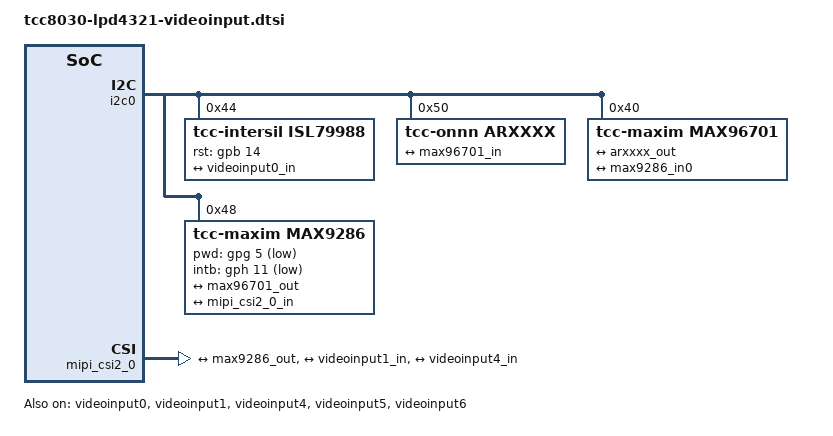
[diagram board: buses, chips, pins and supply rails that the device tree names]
// SPDX-License-Identifier: (GPL-2.0-or-later OR MIT)
/*
 * Copyright (C) Telechips Inc.
 */

#include "../tcc803x-videoinput.dtsi"

&pinctrl {
	cam0_8bit_idle: cam0_8bit_idle {
		telechips,pins = "gpa-0",  "gpa-1",  "gpa-2",  "gpa-11",  "gpa-12",
				 "gpa-3",  "gpa-4",  "gpa-5",  "gpa-6",  "gpa-7",  "gpa-8",  "gpa-9",  "gpa-10";
		telechips,pin-function = <0>;
		telechips,output-low;
	};

	cam0_16bit_idle: cam0_16bit_idle {
		telechips,pins = "gpa-0",
				 "gpa-3",  "gpa-4",  "gpa-5",  "gpa-6",  "gpa-7",  "gpa-8",  "gpa-9",  "gpa-10",
				 "gpa-13", "gpa-14", "gpa-15", "gpa-16", "gpa-17", "gpa-18", "gpa-19", "gpa-20";
		telechips,pin-function = <0>;
		telechips,output-low;
	};

	cam0_clk: cam0_clk {
		telechips,pins = "gpa-0";
		telechips,pin-function = <3>;
		telechips,drive-strength = <3>;
		telechips,input_buffer_enable;
	};

	cam0_hsync: cam0_hsync {
		telechips,pins = "gpa-1";
		telechips,pin-function = <3>;
		telechips,drive-strength = <3>;
		telechips,input_buffer_enable;
	};

	cam0_vsync: cam0_vsync {
		telechips,pins = "gpa-2";
		telechips,pin-function = <3>;
		telechips,drive-strength = <3>;
		telechips,input_buffer_enable;
	};

	cam0_fld: cam0_fld {
		telechips,pins = "gpa-11";
		telechips,pin-function = <3>;
		telechips,drive-strength = <3>;
		telechips,input_buffer_enable;
	};

	cam0_de: cam0_de {
		telechips,pins = "gpa-12";
		telechips,pin-function = <3>;
		telechips,drive-strength = <3>;
		telechips,input_buffer_enable;
	};

	cam0_data_8bit: cam0_data_8bit {
		telechips,pins = "gpa-3",  "gpa-4",  "gpa-5",  "gpa-6",  "gpa-7",  "gpa-8",  "gpa-9",  "gpa-10";
		telechips,pin-function = <3>;
		telechips,drive-strength = <3>;
		telechips,input_buffer_enable;
	};

	cam0_data_16bit: cam0_data_16bit {
		telechips,pins = "gpa-3",  "gpa-4",  "gpa-5",  "gpa-6",  "gpa-7",  "gpa-8",  "gpa-9",  "gpa-10",
				 "gpa-13", "gpa-14", "gpa-15", "gpa-16", "gpa-17", "gpa-18", "gpa-19", "gpa-20";
		telechips,pin-function = <3>;
		telechips,drive-strength = <3>;
		telechips,input_buffer_enable;
	};
};

&i2c0 {
	/* video decoder using parallel interface output */
	isl79988: isl79988 {
		status		= "okay";
		compatible	= "tcc-intersil,isl79988";
		pinctrl-names	= "default";
		pinctrl-0	= <&cam0_clk &cam0_data_8bit>;
		cifport		= <0>;
		rst-gpios	= <&gpb 14 0>;
		reg		= <0x44>;	// 0x88 >> 1
		port {
			isl79988_out: endpoint {
				remote-endpoint = <&videoinput0_in>;
				io-direction	= "output";
				bus-width	= <8>;
			};
		};
	};

	arxxxx: arxxxx@50 {
		status		= "okay";
		compatible	= "tcc-onnn,arxxxx";
		reg		= <0x50>;
		port {
			arxxxx_out: endpoint {
				remote-endpoint = <&max96701_in>;
				io-direction	= "output";
			};
		};
	};

	/* HD camera module & max9286 using MIPI CSI2 output */
	max96701: max96701@40 {
		/* serializer */
		status		= "okay";
		compatible	= "tcc-maxim,max96701";
		reg		= <0x40>;
		ports {
			#address-cells = <1>;
			#size-cells = <0>;
			port@0 {
				reg = <0>;
				max96701_in: endpoint {
					remote-endpoint = <&arxxxx_out>;
					io-direction	= "input";
				};
			};
			port@1 {
				reg = <1>;
				max96701_out: endpoint {
					remote-endpoint = <&max9286_in0>;
					io-direction	= "output";
				};
			};
		};
	};

	max9286: max9286@48 {
		/* deserializer */
		status		= "okay";
		compatible	= "tcc-maxim,max9286";
		pwd-gpios	= <&gpg 5 1>;
		intb-gpios	= <&gph 11 1>;
		//rst-gpios	= <&gpb 15 1>;  /* mcnex module sensor */
		reg		= <0x48>;	// 0x90 >> 1
		/*
		 * broadcasting mode access each linked devices
		 * by the same I2C slave address.
		 *
		 * Also,
		 * using the serdes I2C address mapping table,
		 * each liked devices can be accessed
		 * by the unique I2C slave address.
		 */
		broadcasting-mode;
		ports {
			#address-cells = <1>;
			#size-cells = <0>;
			/*
			 * 0 ~ 3
			 * input ports. The number is matched with VC
			 *
			 * 4
			 * output port.
			 */
			port@0 {
				reg = <0>;
				max9286_in0: endpoint {
					remote-endpoint = <&max96701_out>;
					io-direction	= "input";
					channel		= <0>;
				};
			};
			port@1 {
				reg = <1>;
				max9286_in1: endpoint {
					remote-endpoint = <&max96701_out>;
					io-direction	= "input";
					channel		= <1>;
				};
			};
			port@2 {
				reg = <2>;
				max9286_in2: endpoint {
					remote-endpoint = <&max96701_out>;
					io-direction	= "input";
					channel		= <2>;
				};
			};
			port@3 {
				reg = <3>;
				max9286_in3: endpoint {
					remote-endpoint = <&max96701_out>;
					io-direction	= "input";
					channel		= <3>;
				};
			};
			port@4 {
				reg = <4>;
				max9286_out: endpoint {
					remote-endpoint = <&mipi_csi2_0_in>;
					io-direction	= "output";
					channel		= <0>;
				};
			};
		};
	};
};

&mipi_csi2_0 {
	status = "okay";
	ports {
		#address-cells = <1>;
		#size-cells = <0>;
		/*
		 * 0
		 * input port.
		 *
		 * 1 ~ 4
		 * output ports. (1: VC0 ~ 4: VC3)
		 */
		port@0 {
			reg = <0>;
			mipi_csi2_0_in: endpoint {
				remote-endpoint	= <&max9286_out>;
				io-direction	= "input";
				num-channel	= <4>;

				/*
				 * 0: CH0 only, no data interleave
				 * 1: DT only
				 * 2: VC only
				 * 3: VC and DT
				 */
				interleave-mode = <3>;
				hs-settle = <17>;
				data-lanes = <1 2 3 4>;
			};
		};
		port@1 {
			reg = <1>;
			mipi_csi2_0_out0: endpoint {
				remote-endpoint = <&videoinput1_in>;
				io-direction	= "output";
				channel		= <0>;
				/*
				 * 0: Single pixel mode
				 * 1: Dual pixel mode (RAW8/10/12, YUV422)
				 * 2: Quad pixel mode (RAW8/10/12)
				 * 3: Invalid
				 */
				pixel-mode = <1>;
			};
		};
		port@2 {
			reg = <2>;
			mipi_csi2_0_out1: endpoint {
				remote-endpoint	= <&videoinput4_in>;
				io-direction	= "output";
				channel		= <1>;
				pixel-mode = <1>;
			};
		};
		port@3 {
			reg = <3>;
			mipi_csi2_0_out2: endpoint {
				remote-endpoint	= <&videoinput5_in>;
				io-direction	= "output";
				channel		= <2>;
				pixel-mode = <1>;
			};
		};
		port@4 {
			reg = <4>;
			mipi_csi2_0_out3: endpoint {
				remote-endpoint	= <&videoinput6_in>;
				io-direction	= "output";
				channel		= <3>;
				pixel-mode = <1>;
			};
		};
	};
};

&videoinput0 {
	status		= "okay";
	cifport		= <&cifport		0>;
	use_pgl		= <0>;
	dev_type	= <0>;
	/* memory-region
	 *  - [0]: parking guideline
	 *  - [1]: deinterlacing by viqe
	 *  - [2]: preview
	 *  - [3]: last frame
	 */
	memory-region	= <0
			   &pmap_rearcamera_viqe
			   &pmap_rearcamera
			   0>;
	port {
		videoinput0_in: endpoint {
			remote-endpoint	= <&isl79988_out>;
			io-direction	= "input";
			stream-enable	= <0>;	// VIN_CTRL.SE
			flush-vsync	= <0>;	// VIN_MISC.FVS
		};
	};
};

&videoinput1 {
	status		= "okay";
	cifport		= <&cifport		5>;
	dev_type	= <0>;
	/* memory-region
	 *  - [0]: parking guideline
	 *  - [1]: deinterlacing by viqe
	 *  - [2]: preview
	 *  - [3]: last frame
	 */
	memory-region	= <0
			   0
			   &pmap_rearcamera1
			   0>;
	port {
		videoinput1_in: endpoint {
			remote-endpoint	= <&mipi_csi2_0_out0>;
			io-direction	= "input";
			stream-enable	= <1>;	// VIN_CTRL.SE
			flush-vsync	= <1>;	// VIN_MISC.FVS
		};
	};
};

&videoinput4 {
	status		= "okay";
	cifport		= <&cifport		6>;
	dev_type	= <0>;
	/* memory-region
	 *  - [0]: parking guideline
	 *  - [1]: deinterlacing by viqe
	 *  - [2]: preview
	 *  - [3]: last frame
	 */
	memory-region	= <0
			   0
			   &pmap_rearcamera4
			   0>;
	port {
		videoinput4_in: endpoint {
			remote-endpoint	= <&mipi_csi2_0_out1>;
			io-direction	= "input";
			stream-enable	= <1>;	// VIN_CTRL.SE
			flush-vsync	= <1>;	// VIN_MISC.FVS
		};
	};
};

&videoinput5 {
	status		= "okay";
	cifport		= <&cifport		7>;
	dev_type	= <0>;
	/* memory-region
	 *  - [0]: parking guideline
	 *  - [1]: deinterlacing by viqe
	 *  - [2]: preview
	 *  - [3]: last frame
	 */
	memory-region	= <0
			   0
			   &pmap_rearcamera5
			   0>;
	port {
		videoinput5_in: endpoint {
			remote-endpoint	= <&mipi_csi2_0_out2>;
			io-direction	= "input";
			stream-enable	= <1>;	// VIN_CTRL.SE
			flush-vsync	= <1>;	// VIN_MISC.FVS
		};
	};
};

&videoinput6 {
	status		= "okay";
	cifport		= <&cifport		8>;
	dev_type	= <0>;
	/* memory-region
	 *  - [0]: parking guideline
	 *  - [1]: deinterlacing by viqe
	 *  - [2]: preview
	 *  - [3]: last frame
	 */
	memory-region	= <0
			   0
			   &pmap_rearcamera6
			   0>;
	port {
		videoinput6_in: endpoint {
			remote-endpoint	= <&mipi_csi2_0_out3>;
			io-direction	= "input";
			stream-enable	= <1>;	// VIN_CTRL.SE
			flush-vsync	= <1>;	// VIN_MISC.FVS
		};
	};
};
